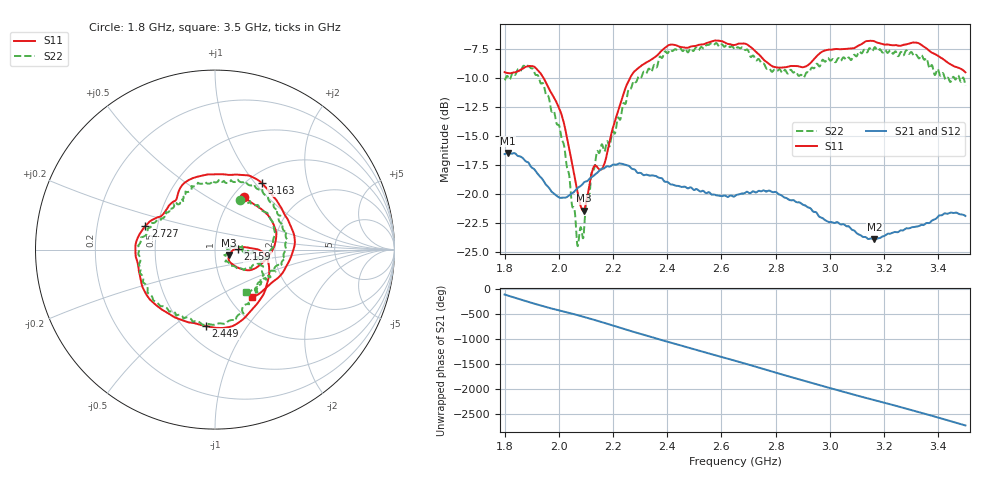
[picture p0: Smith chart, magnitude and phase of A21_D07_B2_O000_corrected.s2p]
! Created with skrf 1.9.0 (http://scikit-rf.org).
# Hz S RI R 50.0
!freq ReS11 ImS11 ReS21 ImS21 ReS12 ImS12 ReS22 ImS22
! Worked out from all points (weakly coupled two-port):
!   1601 points, 1.8 GHz to 3.5 GHz, reference 50 ohm
!   highest |S21| = -16.46 dB at 1.812 GHz (marker M1); lowest = -23.9 dB at 3.164 GHz (marker M2)
!   lowest |S11| = -21.4 dB at 2.091 GHz (marker M3), VSWR 1.19, Z = 58.5 - j3.52 ohm
!   |S11| at or under -10 dB: 1.943 GHz to 2.263 GHz (319.8 MHz wide, 15.2 % of centre)
!   |S22| runs from -24.5 to -7.0 dB; largest |S21 - S12| = 0.0028
!   S11 on the Smith chart (normalised r, x): 1.8 GHz: 1.13, +0.74; 2.159 GHz: 1.29, +0.01; 2.449 GHz: 0.64, -0.66; 2.727 GHz: 0.43, +0.13; 3.163 GHz: 1.16, +1.09; 3.5 GHz: 1.27, -0.75
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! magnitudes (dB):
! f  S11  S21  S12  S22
! 1.8 GHz  -9.5  -16.6  -16.6  -10.2
! 1.812 GHz  -9.6  -16.5  -16.5  -9.9
! 1.885 GHz  -9.0  -17.2  -17.3  -9.0
! 1.942 GHz  -10.0  -18.8  -18.8  -10.5
! 2.013 GHz  -13.4  -20.3  -20.3  -15.4
! 2.067 GHz  -19.6  -19.5  -19.6  -24.0
! 2.084 GHz  -21.2  -19.2  -19.2  -23.1
! 2.091 GHz  -21.4  -19.0  -19.1  -23.7
! 2.127 GHz  -17.7  -18.4  -18.4  -17.9
! 2.159 GHz  -17.8  -17.8  -17.8  -15.7
! 2.259 GHz  -10.2  -17.6  -17.6  -10.9
! 2.367 GHz  -8.0  -18.6  -18.5  -8.6
! 2.449 GHz  -7.4  -19.4  -19.4  -7.5
! 2.65 GHz  -7.2  -20.2  -20.2  -7.6
! 2.727 GHz  -7.8  -19.9  -19.9  -8.5
! 2.801 GHz  -9.1  -19.8  -19.9  -9.3
! 2.934 GHz  -8.6  -21.4  -21.4  -9.1
! 3.163 GHz  -6.9  -23.9  -23.9  -7.4
! 3.164 GHz  -6.9  -23.9  -23.9  -7.4
! 3.217 GHz  -7.2  -23.4  -23.4  -7.8
! 3.326 GHz  -7.0  -22.8  -22.8  -8.3
! 3.5 GHz  -9.5  -21.9  -21.9  -10.7
